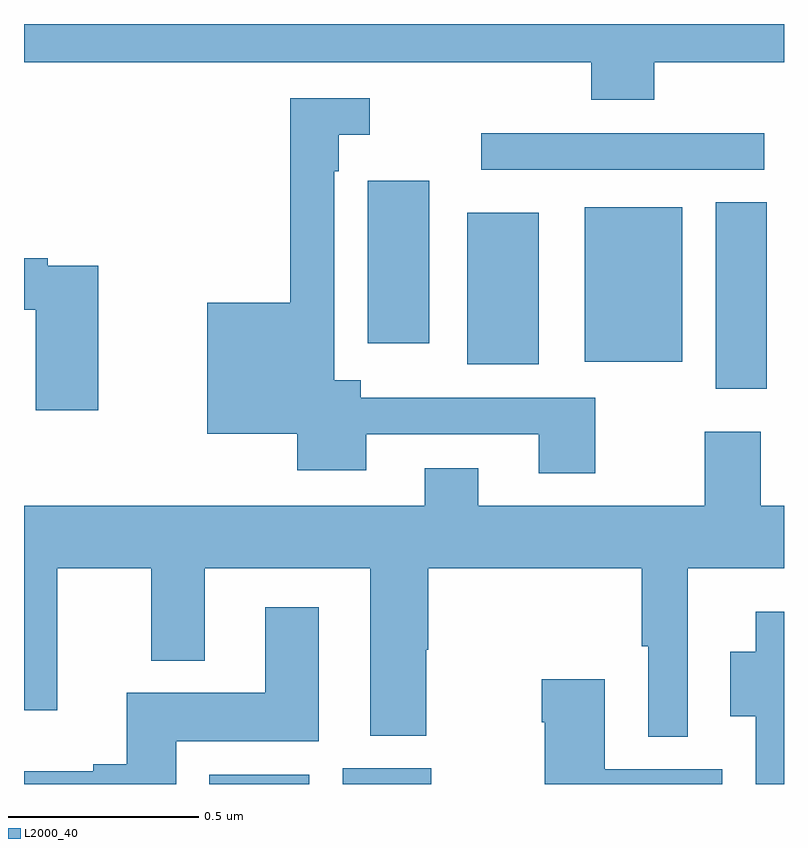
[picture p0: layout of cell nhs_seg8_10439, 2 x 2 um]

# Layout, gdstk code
import gdstk
lib = gdstk.Library(unit=1e-6, precision=1e-09)
def R(c, l, rs):  # rectangles x0, y0, x1, y1
    for r in rs: c.add(gdstk.rectangle(r[:2], r[2:], *l))
def P(c, l, *ps):  # polygons
    for p in ps: c.add(gdstk.Polygon(p, *l))
L2000_40 = (2000, 40)

nhs_seg8_10439 = lib.new_cell('nhs_seg8_10439')
R(nhs_seg8_10439, L2000_40, [(249.488,1147.9,249.751,1147.924), (249.839,1147.9,250.072,1147.942), (250.82,1148.94,250.954,1149.431), (250.166,1149.005,250.354,1149.403), (250.475,1149.011,250.732,1149.418), (249.905,1149.06,250.066,1149.487), (250.203,1149.516,250.948,1149.612)])
P(nhs_seg8_10439, L2000_40, [(250.658,1149.8),(251,1149.8),(251,1149.9),(249,1149.9),(249,1149.8),(250.493,1149.8),(250.493,1149.701),(250.658,1149.701)],
  [(250.503,1148.916),(249.886,1148.916),(249.886,1148.962),(249.816,1148.962),(249.816,1149.512),(249.828,1149.512),(249.828,1149.609),(249.91,1149.609),(249.91,1149.705),(249.7,1149.705),(249.7,1149.166),(249.482,1149.166),(249.482,1148.822),(249.719,1148.822),(249.719,1148.726),(249.901,1148.726),(249.901,1148.82),(250.355,1148.82),(250.355,1148.718),(250.503,1148.718)],
  [(249.196,1149.264),(249.062,1149.264),(249.062,1149.284),(249,1149.284),(249,1149.148),(249.031,1149.148),(249.031,1148.883),(249.196,1148.883)],
  [(250.747,1148.468),(251,1148.468),(251,1148.632),(250.939,1148.632),(250.939,1148.827),(250.792,1148.827),(250.792,1148.632),(250.195,1148.632),(250.195,1148.731),(250.055,1148.731),(250.055,1148.632),(249,1148.632),(249,1148.094),(249.088,1148.094),(249.088,1148.468),(249.335,1148.468),(249.335,1148.225),(249.475,1148.225),(249.475,1148.468),(249.911,1148.468),(249.911,1148.027),(250.059,1148.027),(250.059,1148.253),(250.064,1148.253),(250.064,1148.468),(250.626,1148.468),(250.626,1148.263),(250.643,1148.263),(250.643,1148.024),(250.747,1148.024)],
  [(249.4,1148.012),(249.775,1148.012),(249.775,1148.365),(249.635,1148.365),(249.635,1148.14),(249.271,1148.14),(249.271,1147.952),(249.182,1147.952),(249.182,1147.933),(249,1147.933),(249,1147.9),(249.4,1147.9)],
  [(251,1148.353),(250.925,1148.353),(250.925,1148.248),(250.859,1148.248),(250.859,1148.078),(250.925,1148.078),(250.925,1147.9),(251,1147.9)],
  [(250.837,1147.939),(250.528,1147.939),(250.528,1148.176),(250.363,1148.176),(250.363,1148.063),(250.37,1148.063),(250.37,1147.9),(250.837,1147.9)])

lib.write_gds('nhs_seg8_10439.gds')
